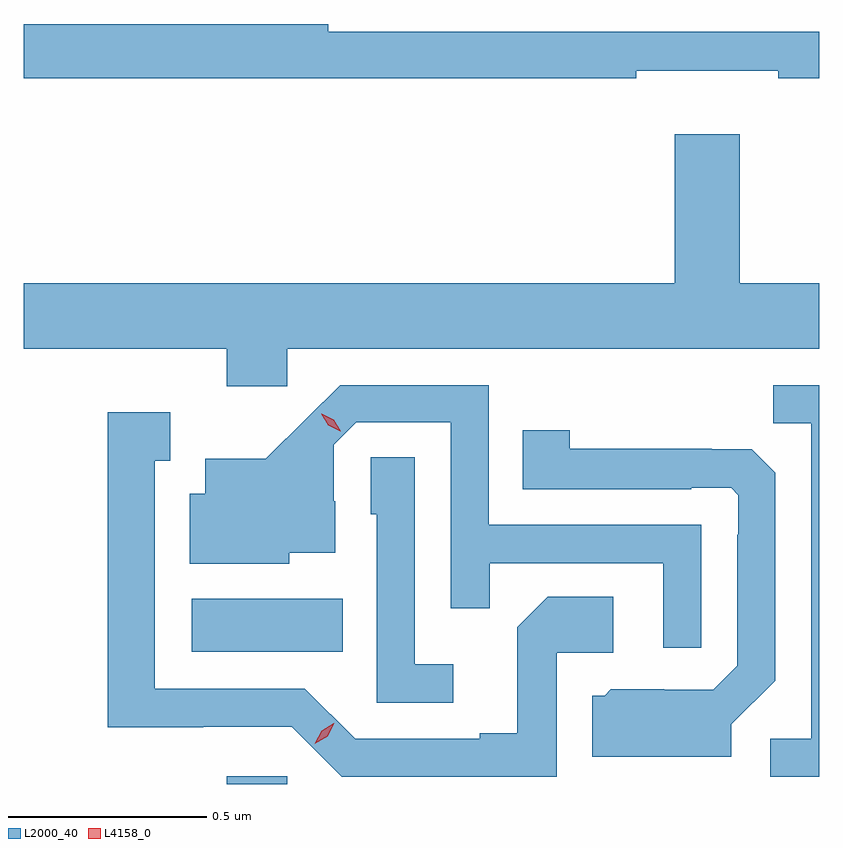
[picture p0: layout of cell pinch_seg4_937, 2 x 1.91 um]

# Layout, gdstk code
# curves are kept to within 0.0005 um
import gdstk
lib = gdstk.Library(unit=1e-6, precision=1e-09)
def R(c, l, rs):  # rectangles x0, y0, x1, y1
    for r in rs: c.add(gdstk.rectangle(r[:2], r[2:], *l))
def P(c, l, *ps):  # polygons
    for p in ps: c.add(gdstk.Polygon(p, *l))
L2000_40 = (2000, 40)
L4158_0 = (4158, 0)

pinch_seg4_937 = lib.new_cell('pinch_seg4_937')
R(pinch_seg4_937, L2000_40, [(691.355,825.03,691.506,825.049), (691.266,825.362,691.646,825.496)])
P(pinch_seg4_937, L2000_40, [(692.384,826.823),(692.74,826.823),(692.74,826.804),(692.844,826.804),(692.844,826.92),(691.61,826.92),(691.61,826.94),(690.844,826.94),(690.844,826.804),(692.384,826.804)],
  [(691.506,826.124),(692.844,826.124),(692.844,826.288),(692.644,826.288),(692.644,826.663),(692.48,826.663),(692.48,826.288),(690.844,826.288),(690.844,826.124),(691.355,826.124),(691.355,826.029),(691.506,826.029)],
  [(692.547,825.681),(692.013,825.681),(692.013,826.032),(691.64,826.032),(691.453,825.847),(691.301,825.847),(691.301,825.76),(691.262,825.76),(691.262,825.584),(691.512,825.584),(691.512,825.611),(691.627,825.611),(691.627,825.74),(691.623,825.74),(691.623,825.882),(691.68,825.939),(691.917,825.939),(691.917,825.472),(692.015,825.472),(692.015,825.585),(692.451,825.585),(692.451,825.372),(692.547,825.372)],
  [(692.844,826.032),(692.728,826.032),(692.728,825.937),(692.823,825.937),(692.823,825.144),(692.721,825.144),(692.721,825.048),(692.844,825.048)],
  [(692.184,825.36),(692.326,825.36),(692.326,825.5),(692.161,825.5),(692.085,825.424),(692.085,825.157),(691.991,825.157),(691.991,825.144),(691.677,825.144),(691.551,825.27),(691.174,825.27),(691.174,825.843),(691.213,825.843),(691.213,825.964),(691.056,825.964),(691.056,825.173),(691.296,825.173),(691.296,825.174),(691.518,825.174),(691.644,825.048),(692.184,825.048)],
  [(692.623,825.18),(692.733,825.29),(692.733,825.812),(692.674,825.871),(692.573,825.871),(692.573,825.872),(692.217,825.872),(692.217,825.919),(692.098,825.919),(692.098,825.771),(692.522,825.771),(692.522,825.774),(692.622,825.774),(692.64,825.756),(692.64,825.656),(692.637,825.656),(692.637,825.327),(692.577,825.267),(692.454,825.267),(692.454,825.268),(692.32,825.268),(692.304,825.252),(692.273,825.252),(692.273,825.098),(692.623,825.098)],
  [(691.924,825.331),(691.827,825.331),(691.827,825.851),(691.716,825.851),(691.716,825.708),(691.731,825.708),(691.731,825.234),(691.924,825.234)])
P(pinch_seg4_937, L4158_0, [(691.576,825.131),(691.576,825.131),(691.593,825.164),(691.624,825.183),(691.625,825.183),(691.625,825.183),(691.608,825.15),(691.576,825.131)],
  [(691.64,825.916),(691.61,825.931),(691.592,825.961),(691.592,825.961),(691.593,825.961),(691.623,825.946),(691.641,825.917),(691.641,825.916)])

lib.write_gds('pinch_seg4_937.gds')
